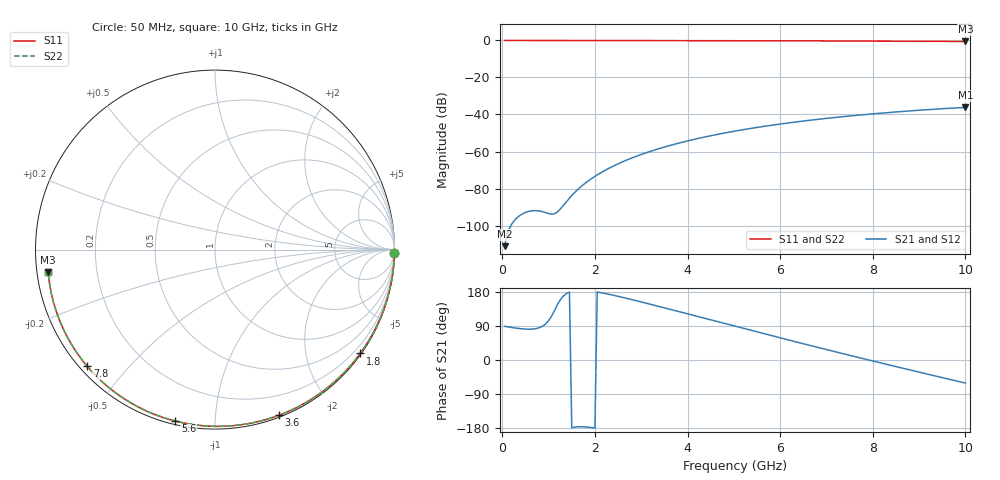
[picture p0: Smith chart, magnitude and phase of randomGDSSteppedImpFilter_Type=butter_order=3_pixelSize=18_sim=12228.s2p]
! freq	dB(S11)	phase(S11)	dB(S12)	phase(S12)
!  dB(S21)	phase(S21)	dB(S22)	phase(S22)
!S-par simulation data
#  GHz  S  DB  R 50
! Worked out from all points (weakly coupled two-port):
!   200 points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, 50 MHz to 10 GHz, reference 50 ohm
!   highest |S21| = -36.17 dB at 10 GHz (marker M1); lowest = -111.1 dB at 50 MHz (marker M2)
!   lowest |S11| = -0.6 dB at 10 GHz (marker M3), VSWR 31.18, Z = 1.61 - j3.4 ohm
!   |S11| at or under -10 dB: nowhere
!   |S22| runs from -0.6 to 0.0 dB; largest |S21 - S12| = 0
!   S11 on the Smith chart (normalised r, x): 50 MHz: open; 1.8 GHz: 0.03, -3.12; 3.6 GHz: 0.02, -1.46; 5.6 GHz: 0.02, -0.80; 7.8 GHz: 0.02, -0.39; 10 GHz: 0.03, -0.07
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0.05  -0.00 -1.0  -111.13 88.9  -111.13 88.9  -0.00 -1.0
0.4  -0.01 -8.1  -94.20 82.5  -94.20 82.5  -0.01 -8.1
0.8  -0.02 -16.0  -92.12 85.3  -92.12 85.3  -0.02 -16.0
1.2  -0.03 -23.9  -92.43 148.1  -92.43 148.1  -0.03 -23.9
1.65  -0.04 -32.7  -80.05 -176.1  -80.05 -176.1  -0.04 -32.7
1.75  -0.04 -34.6  -77.92 -176.2  -77.92 -176.2  -0.04 -34.6
1.8  -0.05 -35.6  -76.93 -176.6  -76.93 -176.6  -0.05 -35.6
2.1  -0.05 -41.3  -71.86 178.3  -71.86 178.3  -0.05 -41.3
2.3  -0.06 -45.1  -69.08 173.5  -69.08 173.5  -0.06 -45.1
2.5  -0.06 -48.9  -66.65 168.0  -66.65 168.0  -0.06 -48.9
2.9  -0.07 -56.3  -62.51 156.3  -62.51 156.3  -0.07 -56.3
3.4  -0.09 -65.4  -58.32 140.8  -58.32 140.8  -0.09 -65.4
3.6  -0.09 -69.0  -56.87 134.5  -56.87 134.5  -0.09 -69.0
4.3  -0.11 -81.3  -52.54 112.2  -52.54 112.2  -0.11 -81.3
5.05  -0.14 -93.9  -48.85 88.3  -48.85 88.3  -0.14 -94.0
5.6  -0.17 -103.0  -46.60 70.9  -46.60 70.9  -0.17 -103.0
6.15  -0.20 -111.8  -44.64 53.7  -44.64 53.7  -0.20 -111.9
6.7  -0.23 -120.5  -42.93 36.7  -42.93 36.7  -0.23 -120.6
7.8  -0.32 -137.6  -40.10 3.4  -40.10 3.4  -0.32 -137.7
8.35  -0.37 -146.1  -38.92 -13.0  -38.92 -13.0  -0.37 -146.2
9.2  -0.46 -159.4  -37.36 -37.9  -37.36 -37.9  -0.46 -159.5
10  -0.56 -172.2  -36.17 -60.9  -36.17 -60.9  -0.56 -172.3
